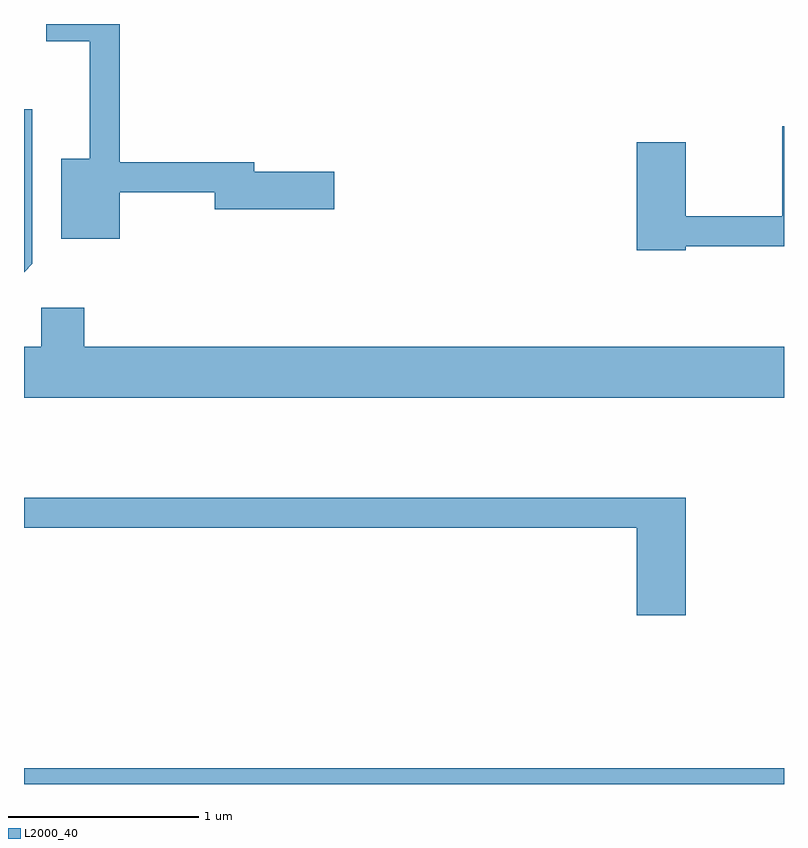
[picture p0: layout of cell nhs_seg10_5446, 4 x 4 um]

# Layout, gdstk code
import gdstk
lib = gdstk.Library(unit=1e-6, precision=1e-09)
def R(c, l, rs):  # rectangles x0, y0, x1, y1
    for r in rs: c.add(gdstk.rectangle(r[:2], r[2:], *l))
def P(c, l, *ps):  # polygons
    for p in ps: c.add(gdstk.Polygon(p, *l))
L2000_40 = (2000, 40)

nhs_seg10_5446 = lib.new_cell('nhs_seg10_5446')
R(nhs_seg10_5446, L2000_40, [(345.611,2138.522,349.611,2138.604)])
P(nhs_seg10_5446, L2000_40, [(346.114,2141.636),(346.616,2141.636),(346.616,2141.546),(347.244,2141.546),(347.244,2141.744),(346.824,2141.744),(346.824,2141.794),(346.114,2141.794),(346.114,2142.522),(345.728,2142.522),(345.728,2142.431),(345.956,2142.431),(345.956,2141.814),(345.806,2141.814),(345.806,2141.391),(346.114,2141.391)],
  [(345.654,2141.259),(345.654,2142.073),(345.611,2142.073),(345.611,2141.216)],
  [(349.094,2141.351),(349.611,2141.351),(349.611,2141.984),(349.601,2141.984),(349.601,2141.509),(349.094,2141.509),(349.094,2141.899),(348.836,2141.899),(348.836,2141.331),(349.094,2141.331)],
  [(349.611,2140.824),(345.929,2140.824),(345.929,2141.029),(345.701,2141.029),(345.701,2140.824),(345.611,2140.824),(345.611,2140.556),(349.611,2140.556)],
  [(349.094,2140.029),(345.611,2140.029),(345.611,2139.871),(348.836,2139.871),(348.836,2139.411),(349.094,2139.411)])

lib.write_gds('nhs_seg10_5446.gds')
